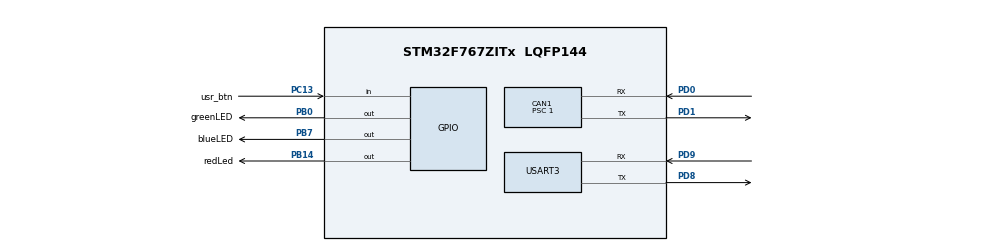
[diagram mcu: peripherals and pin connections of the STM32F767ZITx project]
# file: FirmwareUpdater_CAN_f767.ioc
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CAN1.BS1=CAN_BS1_14TQ
CAN1.CalculateBaudRate=1000000
CAN1.CalculateTimeBit=1000
CAN1.CalculateTimeQuantum=62.5
CAN1.Prescaler=1
Mcu.Family=STM32F7
Mcu.Name=STM32F767ZITx
Mcu.Package=LQFP144
NVIC.CAN1_RX0_IRQn=true\:0\:0\:false\:false\:true\:true\:true\:true
NVIC.CAN1_RX1_IRQn=true\:0\:0\:false\:false\:true\:true\:true\:true
NVIC.PriorityGroup=NVIC_PRIORITYGROUP_4
PB0.GPIO_Label=greenLED
PB0.Signal=GPIO_Output
PB14.GPIO_Label=redLed
PB14.Signal=GPIO_Output
PB7.GPIO_Label=blueLED
PB7.Signal=GPIO_Output
PC13.GPIO_Label=usr_btn
PC13.Signal=GPIO_Input
PD0.Mode=CAN_Activate
PD0.Signal=CAN1_RX
PD1.Mode=CAN_Activate
PD1.Signal=CAN1_TX
PD8.Mode=Asynchronous
PD8.Signal=USART3_TX
PD9.Mode=Asynchronous
PD9.Signal=USART3_RX
ProjectManager.HeapSize=0x200
ProjectManager.StackSize=0x400
ProjectManager.TargetToolchain=STM32CubeIDE
RCC.HSE_VALUE=25000000
RCC.HSI_VALUE=16000000
RCC.LSE_VALUE=32768
RCC.USBFreq_Value=96000000
RCC.VCOOutputFreq_Value=192000000
USART3.VirtualMode-Asynchronous=VM_ASYNC
board=custom

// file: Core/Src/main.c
/* USER CODE BEGIN Header */
/**
 ******************************************************************************
 * @file           : main.c
 * @brief          : Main program body
 ******************************************************************************
 * @attention
 *
 * Copyright (c) 2024 STMicroelectronics.
 * All rights reserved.
 *
 * This software is licensed under terms that can be found in the LICENSE file
 * in the root directory of this software component.
 * If no LICENSE file comes with this software, it is provided AS-IS.
 *
 ******************************************************************************
 */
/* USER CODE END Header */
#include "main.h"

/* USER CODE BEGIN Includes */
#include "stdio.h"
#include "stdbool.h"
#include "string.h"

/* USER CODE END Includes */

/* USER CODE BEGIN PTD */
#define myCanAddress 0xAF
#define destinationMCUaddress 0xAB    // uint8_t device address of the destination MCU
#define responseWaitTime 5000
uint32_t flashData;
uint32_t appStoredAddress = 0x08140000;

typedef struct {
	uint8_t senderAddress;
	uint8_t receiverAddress;
	uint8_t packet_type;
	uint8_t packet_subType;  // only 5 bits will be used
} CAN_Ext_ID;

CAN_Ext_ID rxPCKT_ExtID;

typedef struct {
	uint8_t FW_version;
	uint32_t FW_size;
	uint16_t FW_chunkCount_total;
	uint32_t FW_crc;
} FW_mData_t;

FW_mData_t FW_mData_h = { 1, 6096, 1524, 3906866583 };

typedef enum {
	subType_version, subType_size, subType_chunkCount, subType_crc,
} FW_mData_subType;

typedef enum {
	OTA_PCKT_TYPE_CMD,      // Command
	OTA_PCKT_TYPE_fwDATA,   // Data
	OTA_PCKT_TYPE_mData,    // Header
	OTA_PCKT_TYPE_RESPONSE, // Response
} OTA_PCKT_TYPE;

typedef enum {
	OTA_CMD_START = 0, // OTA Start command
	OTA_CMD_END = 1,   // OTA End command
	OTA_CMD_ABORT = 2, // OTA Abort command
} OTA_CMD;

/* USER CODE END PTD */

/* USER CODE BEGIN PD */
#define OTA_PCKT_ACK 0x00 // ACK
#define OTA_PCKT_NACK 0x01 // NACK

/* USER CODE END PD */

CAN_HandleTypeDef hcan1;

UART_HandleTypeDef huart3;

/* USER CODE BEGIN PV */
CAN_TxHeaderTypeDef TxHeader;
CAN_RxHeaderTypeDef RxHeader;

uint8_t RxData[8];
uint8_t TxData[8] = { 0 };
uint32_t TxMailbox;

bool ackReceived = 0;
bool nackReceived = 0;

/* USER CODE END PV */

void SystemClock_Config(void);
static void MX_GPIO_Init(void);
static void MX_USART3_UART_Init(void);
static void MX_CAN1_Init(void);
/* USER CODE BEGIN PFP */
#ifdef __GNUC__
#define PUTCHAR_PROTOTYPE int __io_putchar(int ch)
#else
#define PUTCHAR_PROTOTYPE int fputc(int ch, FILE *f)
#endif

PUTCHAR_PROTOTYPE {
	HAL_UART_Transmit(&huart3, (uint8_t*) &ch, 1, HAL_MAX_DELAY);
	return ch;
}

void process_packet();
void handle_packet_type(uint8_t firmwareUpdatePacketType);
uint32_t packCAN_Ext_ID(CAN_Ext_ID id);

/* USER CODE END PFP */

/* USER CODE BEGIN 0 */
void HAL_CAN_RxFifo0MsgPendingCallback(CAN_HandleTypeDef *hcan) {
	HAL_CAN_GetRxMessage(hcan, CAN_RX_FIFO0, &RxHeader, RxData);
	process_packet();
}

uint32_t packCAN_Ext_ID(CAN_Ext_ID id) {
	uint32_t packedID = 0;
	packedID |= (uint32_t) id.senderAddress;
	packedID |= (uint32_t) id.receiverAddress << 8;
	packedID |= (uint32_t) id.packet_type << 16;
	packedID |= (uint32_t) id.packet_subType << 24;
	return packedID;
}

uint32_t htonl(uint32_t net) {
	return __builtin_bswap32(net);
}

void process_packet() {
	memcpy(&rxPCKT_ExtID, &RxHeader.ExtId, sizeof(CAN_Ext_ID));
	if (rxPCKT_ExtID.receiverAddress == myCanAddress) {
		// handle message with correct CAN address here
		handle_packet_type(rxPCKT_ExtID.packet_type);
	}
}

void handle_packet_type(uint8_t firmwareUpdatePacketType) {
	switch (firmwareUpdatePacketType) {
	case (OTA_PCKT_TYPE_CMD):
		// Handle cmd type data
		break;
	case (OTA_PCKT_TYPE_mData):
		// handle_metaData_type_packet
		break;
	case (OTA_PCKT_TYPE_RESPONSE):
		// handle_response_type_packet
		if (RxData[0] == OTA_PCKT_ACK)
			ackReceived = 1;
		else if (RxData[0] == OTA_PCKT_NACK)
			nackReceived = 1;
		break;
	case (OTA_PCKT_TYPE_fwDATA):
		// handle_fwDATA_type_packet
		break;
	default:
		// handle incorrect packet type here
		break;
	}
}
void send_cmd(uint8_t receiverAddress, uint8_t cmd) {
	CAN_Ext_ID txPCKT_extID =
			{ .senderAddress = myCanAddress, .receiverAddress = receiverAddress,
					.packet_type = OTA_PCKT_TYPE_CMD };
	TxHeader.ExtId = packCAN_Ext_ID(txPCKT_extID);
	TxHeader.IDE = CAN_ID_EXT;
	TxHeader.DLC = sizeof(cmd);
	TxHeader.RTR = CAN_RTR_DATA;
	TxData[0] = cmd;
	HAL_CAN_AddTxMessage(&hcan1, &TxHeader, TxData, &TxMailbox);
}

void send_FWmData(uint8_t receiverAddress, uint8_t pcktType,
		uint8_t pckt_subType, void *data, uint8_t dataSize) {

	CAN_Ext_ID txPCKT_extID = { .senderAddress = myCanAddress,
			.receiverAddress = receiverAddress, .packet_type = pcktType,
			.packet_subType = pckt_subType };

	TxHeader.ExtId = packCAN_Ext_ID(txPCKT_extID);
	TxHeader.IDE = CAN_ID_EXT;
	TxHeader.DLC = dataSize;
	TxHeader.RTR = CAN_RTR_DATA;

	uint8_t *byteData = (uint8_t*) data;
	for (int i = 0; i < dataSize; i++) {
		TxData[i] = byteData[i];
	}

	HAL_CAN_AddTxMessage(&hcan1, &TxHeader, TxData, &TxMailbox);
}

void wait_response() {
	uint32_t startTime = HAL_GetTick();
	while (!ackReceived && !nackReceived
			&& HAL_GetTick() - startTime < responseWaitTime)
		;
}

void Flash_Read_Data(uint32_t StartSectorAddress, uint32_t *RxBuf,
		uint16_t numberofwords) {
	while (1) {

		*RxBuf = *(__IO uint32_t*) StartSectorAddress;
		StartSectorAddress += 4;
		RxBuf++;
		if (!(numberofwords--))
			break;
	}
}

void send_FWdata(uint8_t receiverAddress, uint8_t pcktType,
                                  uint8_t pckt_subType, uint32_t chunkNumber,
                                  uint32_t StartSectorAddress) {

    CAN_Ext_ID txPCKT_extID = { .senderAddress = myCanAddress,
                                .receiverAddress = receiverAddress,
                                .packet_type = pcktType,
                                .packet_subType = pckt_subType };

    TxHeader.ExtId = packCAN_Ext_ID(txPCKT_extID);
    TxHeader.IDE = CAN_ID_EXT;
    TxHeader.DLC = 8; // 4 bytes for chunk number and 4 bytes for data
    TxHeader.RTR = CAN_RTR_DATA;

    // Store chunk number in the first 4 bytes of TxData
    for (int i = 0; i < 4; i++) {
        TxData[i] = (chunkNumber >> (8 * i)) & 0xFF;
    }

    // Read data from flash
    Flash_Read_Data(StartSectorAddress, &flashData, 1);

    // Store flash data in the last 4 bytes of TxData
    for (int i = 0; i < 4; i++) {
        TxData[4 + i] = (flashData >> (8 * i)) & 0xFF;
    }

    HAL_CAN_AddTxMessage(&hcan1, &TxHeader, TxData, &TxMailbox);
}

/* USER CODE END 0 */

int main(void)
{

  /* MCU Configuration--------------------------------------------------------*/

  /* Reset of all peripherals, Initializes the Flash interface and the Systick. */
  HAL_Init();

  /* Configure the system clock */
  SystemClock_Config();

  /* Initialize all configured peripherals */
  MX_GPIO_Init();
  MX_USART3_UART_Init();
  MX_CAN1_Init();
  /* USER CODE BEGIN 2 */
	printf("Application Started..\n ");
	HAL_CAN_Start(&hcan1);  //start can
	HAL_CAN_ActivateNotification(&hcan1, CAN_IT_RX_FIFO0_MSG_PENDING); //activate rx fifo0 full notification
	HAL_GPIO_TogglePin(blueLED_GPIO_Port, blueLED_Pin);

  /* USER CODE END 2 */

  /* Infinite loop */
	while (1) {

    /* USER CODE BEGIN 3 */
		do {
			send_cmd(destinationMCUaddress, OTA_CMD_START);
			wait_response();
		} while (!ackReceived);
		ackReceived = 0;
		HAL_GPIO_TogglePin(blueLED_GPIO_Port, blueLED_Pin);
		HAL_Delay(100);
		do {
			send_FWmData(destinationMCUaddress, OTA_PCKT_TYPE_mData,
					subType_version, &FW_mData_h.FW_version,
					sizeof(FW_mData_h.FW_version));
			wait_response();
		} while (!ackReceived);
		ackReceived = 0;
		HAL_GPIO_TogglePin(blueLED_GPIO_Port, blueLED_Pin);
		HAL_Delay(100);
		do {
			send_FWmData(destinationMCUaddress, OTA_PCKT_TYPE_mData,
					subType_size, &FW_mData_h.FW_size,
					sizeof(FW_mData_h.FW_size));
			wait_response();
		} while (!ackReceived);
		ackReceived = 0;
		HAL_GPIO_TogglePin(blueLED_GPIO_Port, blueLED_Pin);
		HAL_Delay(100);
		do {
			send_FWmData(destinationMCUaddress, OTA_PCKT_TYPE_mData,
					subType_chunkCount, &FW_mData_h.FW_chunkCount_total,
					sizeof(FW_mData_h.FW_chunkCount_total));
			wait_response();
		} while (!ackReceived);
		ackReceived = 0;
		HAL_GPIO_TogglePin(blueLED_GPIO_Port, blueLED_Pin);
		do {
			send_FWmData(destinationMCUaddress, OTA_PCKT_TYPE_mData,
					subType_crc, &FW_mData_h.FW_crc,
					sizeof(FW_mData_h.FW_crc));
			wait_response();
		} while (!ackReceived);
		ackReceived = 0;
		HAL_GPIO_TogglePin(blueLED_GPIO_Port, blueLED_Pin);
		HAL_Delay(100);
		for (int chunkNumber = 0; chunkNumber < FW_mData_h.FW_chunkCount_total; chunkNumber++) {
			do {
				send_FWdata(destinationMCUaddress, OTA_PCKT_TYPE_fwDATA, 0x00, chunkNumber, appStoredAddress+(chunkNumber*4));
				wait_response();
			} while (!ackReceived);
			ackReceived = 0;
			HAL_GPIO_TogglePin(blueLED_GPIO_Port, blueLED_Pin);
		}
		HAL_GPIO_WritePin(greenLED_GPIO_Port, greenLED_Pin, 1);
		HAL_GPIO_WritePin(blueLED_GPIO_Port, blueLED_Pin, 1);
		HAL_GPIO_WritePin(redLed_GPIO_Port, redLed_Pin, 1);
		while(1); // process complete
	}
  /* USER CODE END 3 */
}

void SystemClock_Config(void)
{
  RCC_OscInitTypeDef RCC_OscInitStruct = {0};
  RCC_ClkInitTypeDef RCC_ClkInitStruct = {0};

  /** Configure the main internal regulator output voltage
  */
  __HAL_RCC_PWR_CLK_ENABLE();
  __HAL_PWR_VOLTAGESCALING_CONFIG(PWR_REGULATOR_VOLTAGE_SCALE3);

  /** Initializes the RCC Oscillators according to the specified parameters
  * in the RCC_OscInitTypeDef structure.
  */
  RCC_OscInitStruct.OscillatorType = RCC_OSCILLATORTYPE_HSI;
  RCC_OscInitStruct.HSIState = RCC_HSI_ON;
  RCC_OscInitStruct.HSICalibrationValue = RCC_HSICALIBRATION_DEFAULT;
  RCC_OscInitStruct.PLL.PLLState = RCC_PLL_NONE;
  if (HAL_RCC_OscConfig(&RCC_OscInitStruct) != HAL_OK)
  {
    Error_Handler();
  }

  /** Initializes the CPU, AHB and APB buses clocks
  */
  RCC_ClkInitStruct.ClockType = RCC_CLOCKTYPE_HCLK|RCC_CLOCKTYPE_SYSCLK
                              |RCC_CLOCKTYPE_PCLK1|RCC_CLOCKTYPE_PCLK2;
  RCC_ClkInitStruct.SYSCLKSource = RCC_SYSCLKSOURCE_HSI;
  RCC_ClkInitStruct.AHBCLKDivider = RCC_SYSCLK_DIV1;
  RCC_ClkInitStruct.APB1CLKDivider = RCC_HCLK_DIV1;
  RCC_ClkInitStruct.APB2CLKDivider = RCC_HCLK_DIV1;

  if (HAL_RCC_ClockConfig(&RCC_ClkInitStruct, FLASH_LATENCY_0) != HAL_OK)
  {
    Error_Handler();
  }
}

static void MX_CAN1_Init(void)
{

  hcan1.Instance = CAN1;
  hcan1.Init.Prescaler = 1;
  hcan1.Init.Mode = CAN_MODE_NORMAL;
  hcan1.Init.SyncJumpWidth = CAN_SJW_1TQ;
  hcan1.Init.TimeSeg1 = CAN_BS1_14TQ;
  hcan1.Init.TimeSeg2 = CAN_BS2_1TQ;
  hcan1.Init.TimeTriggeredMode = DISABLE;
  hcan1.Init.AutoBusOff = DISABLE;
  hcan1.Init.AutoWakeUp = DISABLE;
  hcan1.Init.AutoRetransmission = DISABLE;
  hcan1.Init.ReceiveFifoLocked = DISABLE;
  hcan1.Init.TransmitFifoPriority = DISABLE;
  if (HAL_CAN_Init(&hcan1) != HAL_OK)
  {
    Error_Handler();
  }
  /* USER CODE BEGIN CAN1_Init 2 */
	CAN_FilterTypeDef canfilterconfig;

	canfilterconfig.FilterActivation = CAN_FILTER_ENABLE;
	canfilterconfig.FilterBank = 10; // which filter bank to use from the assigned ones
	canfilterconfig.FilterFIFOAssignment = CAN_FILTER_FIFO0;
	canfilterconfig.FilterIdHigh = 0;  //will just receive 0x103 address mssg
	canfilterconfig.FilterIdLow = 0;
	canfilterconfig.FilterMaskIdHigh = 0;
	canfilterconfig.FilterMaskIdLow = 0;
	canfilterconfig.FilterMode = CAN_FILTERMODE_IDMASK;
	canfilterconfig.FilterScale = CAN_FILTERSCALE_32BIT;
	canfilterconfig.SlaveStartFilterBank = 0; // how many filters to assign to the CAN1 (master can)

	HAL_CAN_ConfigFilter(&hcan1, &canfilterconfig);
  /* USER CODE END CAN1_Init 2 */

}

static void MX_USART3_UART_Init(void)
{

  huart3.Instance = USART3;
  huart3.Init.BaudRate = 115200;
  huart3.Init.WordLength = UART_WORDLENGTH_8B;
  huart3.Init.StopBits = UART_STOPBITS_1;
  huart3.Init.Parity = UART_PARITY_NONE;
  huart3.Init.Mode = UART_MODE_TX_RX;
  huart3.Init.HwFlowCtl = UART_HWCONTROL_NONE;
  huart3.Init.OverSampling = UART_OVERSAMPLING_16;
  huart3.Init.OneBitSampling = UART_ONE_BIT_SAMPLE_DISABLE;
  huart3.AdvancedInit.AdvFeatureInit = UART_ADVFEATURE_NO_INIT;
  if (HAL_UART_Init(&huart3) != HAL_OK)
  {
    Error_Handler();
  }

}

static void MX_GPIO_Init(void)
{
  GPIO_InitTypeDef GPIO_InitStruct = {0};

  /* GPIO Ports Clock Enable */
  __HAL_RCC_GPIOC_CLK_ENABLE();
  __HAL_RCC_GPIOB_CLK_ENABLE();
  __HAL_RCC_GPIOD_CLK_ENABLE();

  /*Configure GPIO pin Output Level */
  HAL_GPIO_WritePin(GPIOB, greenLED_Pin|redLed_Pin|blueLED_Pin, GPIO_PIN_RESET);

  /*Configure GPIO pin : usr_btn_Pin */
  GPIO_InitStruct.Pin = usr_btn_Pin;
  GPIO_InitStruct.Mode = GPIO_MODE_INPUT;
  GPIO_InitStruct.Pull = GPIO_NOPULL;
  HAL_GPIO_Init(usr_btn_GPIO_Port, &GPIO_InitStruct);

  /*Configure GPIO pins : greenLED_Pin redLed_Pin blueLED_Pin */
  GPIO_InitStruct.Pin = greenLED_Pin|redLed_Pin|blueLED_Pin;
  GPIO_InitStruct.Mode = GPIO_MODE_OUTPUT_PP;
  GPIO_InitStruct.Pull = GPIO_NOPULL;
  GPIO_InitStruct.Speed = GPIO_SPEED_FREQ_LOW;
  HAL_GPIO_Init(GPIOB, &GPIO_InitStruct);

}

void Error_Handler(void)
{
	__disable_irq();
	while (1) {
	}
}
